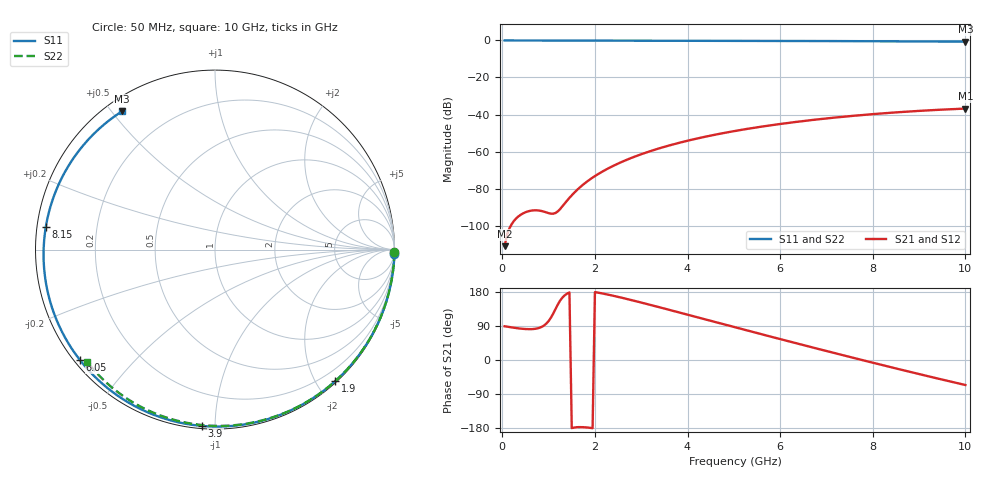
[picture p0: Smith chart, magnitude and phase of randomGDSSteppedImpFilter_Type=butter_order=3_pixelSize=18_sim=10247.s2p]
! freq	dB(S11)	phase(S11)	dB(S12)	phase(S12)
!  dB(S21)	phase(S21)	dB(S22)	phase(S22)
!S-par simulation data
#  GHz  S  DB  R 50
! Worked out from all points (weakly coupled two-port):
!   200 points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, 50 MHz to 10 GHz, reference 50 ohm
!   highest |S21| = -36.79 dB at 10 GHz (marker M1); lowest = -111.1 dB at 50 MHz (marker M2)
!   lowest |S11| = -0.6 dB at 10 GHz (marker M3), VSWR 26.96, Z = 2.38 + j26.5 ohm
!   |S11| at or under -10 dB: nowhere
!   |S22| runs from -0.5 to 0.0 dB; largest |S21 - S12| = 0
!   S11 on the Smith chart (normalised r, x): 50 MHz: 0, -89; 1.9 GHz: 0.02, -2.26; 3.9 GHz: 0.01, -0.93; 6.05 GHz: 0.02, -0.36; 8.15 GHz: 0.03, +0.07; 10 GHz: 0.05, +0.53
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0.05  -0.00 -1.3  -111.11 89.0  -111.11 89.0  -0.00 -0.8
0.8  -0.03 -20.4  -91.90 84.9  -91.90 84.9  -0.02 -12.8
1.6  -0.05 -40.3  -81.07 -177.5  -81.07 -177.5  -0.03 -25.4
1.65  -0.05 -41.6  -79.91 -177.1  -79.91 -177.1  -0.03 -26.1
1.75  -0.06 -44.0  -77.77 -177.3  -77.77 -177.3  -0.04 -27.7
1.9  -0.06 -47.7  -74.94 -179.0  -74.94 -179.0  -0.04 -30.0
2.2  -0.07 -54.9  -70.27 174.7  -70.27 174.7  -0.04 -34.6
2.55  -0.08 -63.2  -65.93 165.2  -65.93 165.2  -0.05 -40.0
2.95  -0.09 -72.6  -61.91 153.2  -61.91 153.2  -0.06 -46.0
3.4  -0.11 -82.9  -58.19 139.0  -58.19 139.0  -0.07 -52.7
3.9  -0.13 -94.2  -54.77 122.9  -54.77 122.9  -0.08 -59.9
4.45  -0.15 -106.3  -51.64 105.0  -51.64 105.0  -0.10 -67.8
5.05  -0.18 -119.3  -48.77 85.6  -48.77 85.6  -0.12 -76.1
6.05  -0.25 -140.8  -44.95 53.6  -44.95 53.6  -0.16 -89.6
6.7  -0.30 -154.9  -42.94 33.1  -42.94 33.1  -0.19 -98.1
7.45  -0.36 -171.5  -41.00 9.7  -41.00 9.7  -0.24 -107.6
8.15  -0.44 172.3  -39.50 -11.7  -39.50 -11.7  -0.29 -116.3
8.35  -0.46 167.5  -39.12 -17.7  -39.12 -17.7  -0.30 -118.7
8.75  -0.50 157.6  -38.43 -29.7  -38.43 -29.7  -0.34 -123.6
9.15  -0.55 147.3  -37.82 -41.5  -37.82 -41.5  -0.38 -128.5
9.55  -0.59 136.6  -37.29 -53.2  -37.29 -53.2  -0.42 -133.3
10  -0.64 124.0  -36.79 -66.0  -36.79 -66.0  -0.47 -138.8
